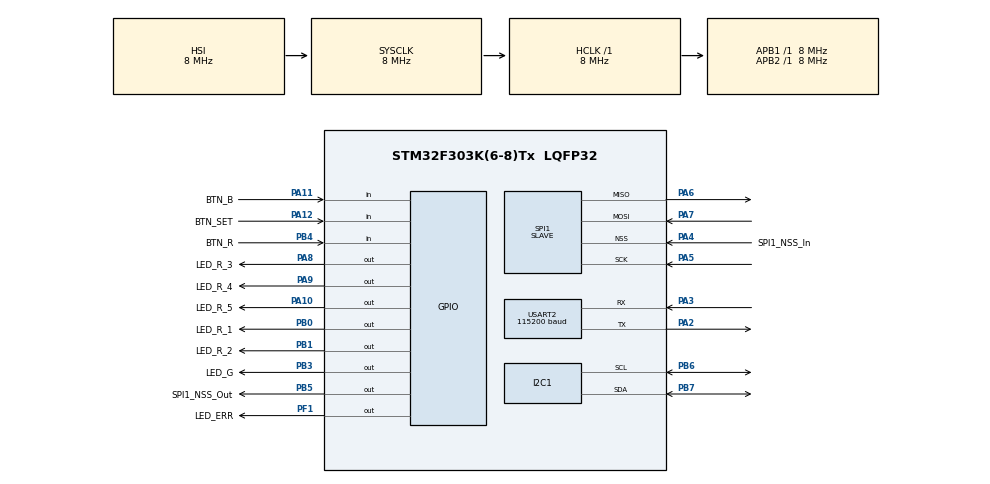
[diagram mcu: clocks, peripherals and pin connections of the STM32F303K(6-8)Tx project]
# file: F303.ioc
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I2C1.OwnAddress=18
Mcu.Family=STM32F3
Mcu.Name=STM32F303K(6-8)Tx
Mcu.Package=LQFP32
NVIC.I2C1_ER_IRQn=true\:13\:0\:true\:false\:true\:true\:true\:true
NVIC.I2C1_EV_IRQn=true\:14\:0\:true\:false\:true\:true\:true\:true
NVIC.PriorityGroup=NVIC_PRIORITYGROUP_4
NVIC.SPI1_IRQn=true\:14\:0\:true\:false\:true\:true\:true\:true
NVIC.TIM1_TRG_COM_TIM17_IRQn=true\:12\:0\:true\:false\:true\:true\:true\:true
NVIC.TIM1_UP_TIM16_IRQn=true\:15\:0\:true\:false\:true\:true\:true\:true
NVIC.USART2_IRQn=true\:14\:0\:true\:false\:true\:true\:true\:true
PA10.GPIO_Label=LED_R_5
PA10.Signal=GPIO_Output
PA11.GPIO_Label=BTN_B
PA11.GPIO_PuPd=GPIO_PULLUP
PA11.Signal=GPIO_Input
PA12.GPIO_Label=BTN_SET
PA12.GPIO_PuPd=GPIO_PULLUP
PA12.Signal=GPIO_Input
PA13.Mode=Serial_Wire
PA13.Signal=SYS_JTMS-SWDIO
PA14.Mode=Serial_Wire
PA14.Signal=SYS_JTCK-SWCLK
PA2.Mode=Asynchronous
PA2.Signal=USART2_TX
PA3.Mode=Asynchronous
PA3.Signal=USART2_RX
PA4.GPIO_Label=SPI1_NSS_In
PA4.GPIO_PuPd=GPIO_PULLDOWN
PA4.Mode=NSS_Signal_Hard_Input
PA4.Signal=SPI1_NSS
PA5.Mode=Full_Duplex_Slave
PA5.Signal=SPI1_SCK
PA6.Mode=Full_Duplex_Slave
PA6.Signal=SPI1_MISO
PA7.Mode=Full_Duplex_Slave
PA7.Signal=SPI1_MOSI
PA8.GPIO_Label=LED_R_3
PA8.Signal=GPIO_Output
PA9.GPIO_Label=LED_R_4
PA9.Signal=GPIO_Output
PB0.GPIO_Label=LED_R_1
PB0.Signal=GPIO_Output
PB1.GPIO_Label=LED_R_2
PB1.PinState=GPIO_PIN_RESET
PB1.Signal=GPIO_Output
PB3.GPIO_Label=LED_G
PB3.Signal=GPIO_Output
PB4.GPIO_Label=BTN_R
PB4.GPIO_PuPd=GPIO_PULLUP
PB4.Signal=GPIO_Input
PB5.GPIO_Label=SPI1_NSS_Out
PB5.PinState=GPIO_PIN_SET
PB5.Signal=GPIO_Output
PB6.Mode=I2C
PB6.Signal=I2C1_SCL
PB7.Mode=I2C
PB7.Signal=I2C1_SDA
PF0\ /\ OSC_IN.Mode=HSE-External-Clock-Source
PF0\ /\ OSC_IN.Signal=RCC_OSC_IN
PF1\ /\ OSC_OUT.GPIO_Label=LED_ERR
PF1\ /\ OSC_OUT.Signal=GPIO_Output
ProjectManager.HeapSize=0x200
ProjectManager.StackSize=0x400
ProjectManager.TargetToolchain=STM32CubeIDE
RCC.AHBFreq_Value=8000000
RCC.APB1Freq_Value=8000000
RCC.APB2Freq_Value=8000000
RCC.CortexFreq_Value=8000000
RCC.HSE_VALUE=8000000
RCC.HSI_VALUE=8000000
RCC.SYSCLKFreq_VALUE=8000000
SPI1.DataSize=SPI_DATASIZE_8BIT
SPI1.Direction=SPI_DIRECTION_2LINES
SPI1.Mode=SPI_MODE_SLAVE
SPI1.VirtualNSS=VM_NSSHARD
SPI1.VirtualType=VM_SLAVE
TIM16.Period=1
TIM16.Prescaler=8000-1
USART2.BaudRate=115200
USART2.VirtualMode-Asynchronous=VM_ASYNC
VP_TIM16_VS_ClockSourceINT.Mode=Enable_Timer
VP_TIM17_VS_ClockSourceINT.Mode=Enable_Timer
board=NUCLEO-F303K8

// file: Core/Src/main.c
/* USER CODE BEGIN Header */
/* USER CODE END Header */
#include "main.h"

/* USER CODE BEGIN Includes */
#include <stdbool.h>
/* USER CODE END Includes */

I2C_HandleTypeDef hi2c1;

SPI_HandleTypeDef hspi1;

TIM_HandleTypeDef htim16;
TIM_HandleTypeDef htim17;

UART_HandleTypeDef huart2;

/* USER CODE BEGIN PV */
uint8_t userMode = 1;
uint8_t protocol = 1;
uint8_t BTN_DEBOUNCE_TIMER = 20;

uint8_t uartRxBuffer = 0;
uint8_t uartTxBuffer = 0;
uint8_t spiRxBuffer = 0;
uint8_t spiTxBuffer = 0;

uint16_t BTN_RED_initState = GPIO_PIN_SET;
uint16_t BTN_RED_currentState;
uint16_t BTN_RED_pressSlowCount = 0;
uint16_t BTN_RED_releaseSlowCount = 0;
bool BTN_RED_isPressed = false;

uint16_t BTN_BLUE_initState = GPIO_PIN_SET;
uint16_t BTN_BLUE_currentState;
uint16_t BTN_BLUE_pressSlowCount = 0;
uint16_t BTN_BLUE_releaseSlowCount = 0;
bool BTN_BLUE_isPressed = false;

uint16_t BTN_SET_initState = GPIO_PIN_SET;
uint16_t BTN_SET_currentState;
uint16_t BTN_SET_pressSlowCount = 0;
uint16_t BTN_SET_releaseSlowCount = 0;
bool BTN_SET_isPressed = false;
/* USER CODE END PV */

void SystemClock_Config(void);
static void MX_GPIO_Init(void);
static void MX_TIM16_Init(void);
static void MX_I2C1_Init(void);
static void MX_SPI1_Init(void);
static void MX_TIM17_Init(void);
static void MX_USART2_UART_Init(void);

int main(void)
{

  /* MCU Configuration--------------------------------------------------------*/

  /* Reset of all peripherals, Initializes the Flash interface and the Systick. */
  HAL_Init();

  /* Configure the system clock */
  SystemClock_Config();

  /* Initialize all configured peripherals */
  MX_GPIO_Init();
  MX_TIM16_Init();
  MX_I2C1_Init();
  MX_SPI1_Init();
  MX_TIM17_Init();
  MX_USART2_UART_Init();
  /* USER CODE BEGIN 2 */
  setModeLed();
  /* USER CODE END 2 */

  /* Infinite loop */
  /* USER CODE BEGIN WHILE */
  while(1)
  {
	  int delayTime = (6 - userMode) * 100;

	  HAL_GPIO_WritePin(GPIOB, LED_G_Pin, GPIO_PIN_SET);
	  HAL_Delay(delayTime);
	  HAL_GPIO_WritePin(GPIOB, LED_G_Pin, GPIO_PIN_RESET);
	  HAL_Delay(delayTime);

    /* USER CODE END WHILE */

  }
}

void SystemClock_Config(void)
{
  RCC_OscInitTypeDef RCC_OscInitStruct = {0};
  RCC_ClkInitTypeDef RCC_ClkInitStruct = {0};
  RCC_PeriphCLKInitTypeDef PeriphClkInit = {0};

  /** Initializes the RCC Oscillators according to the specified parameters
  * in the RCC_OscInitTypeDef structure.
  */
  RCC_OscInitStruct.OscillatorType = RCC_OSCILLATORTYPE_HSI;
  RCC_OscInitStruct.HSIState = RCC_HSI_ON;
  RCC_OscInitStruct.HSICalibrationValue = RCC_HSICALIBRATION_DEFAULT;
  RCC_OscInitStruct.PLL.PLLState = RCC_PLL_NONE;
  if (HAL_RCC_OscConfig(&RCC_OscInitStruct) != HAL_OK)
  {
    Error_Handler();
  }

  /** Initializes the CPU, AHB and APB buses clocks
  */
  RCC_ClkInitStruct.ClockType = RCC_CLOCKTYPE_HCLK|RCC_CLOCKTYPE_SYSCLK
                              |RCC_CLOCKTYPE_PCLK1|RCC_CLOCKTYPE_PCLK2;
  RCC_ClkInitStruct.SYSCLKSource = RCC_SYSCLKSOURCE_HSI;
  RCC_ClkInitStruct.AHBCLKDivider = RCC_SYSCLK_DIV1;
  RCC_ClkInitStruct.APB1CLKDivider = RCC_HCLK_DIV1;
  RCC_ClkInitStruct.APB2CLKDivider = RCC_HCLK_DIV1;

  if (HAL_RCC_ClockConfig(&RCC_ClkInitStruct, FLASH_LATENCY_0) != HAL_OK)
  {
    Error_Handler();
  }
  PeriphClkInit.PeriphClockSelection = RCC_PERIPHCLK_I2C1;
  PeriphClkInit.I2c1ClockSelection = RCC_I2C1CLKSOURCE_HSI;
  if (HAL_RCCEx_PeriphCLKConfig(&PeriphClkInit) != HAL_OK)
  {
    Error_Handler();
  }
}

static void MX_I2C1_Init(void)
{

  hi2c1.Instance = I2C1;
  hi2c1.Init.Timing = 0x2000090E;
  hi2c1.Init.OwnAddress1 = 36;
  hi2c1.Init.AddressingMode = I2C_ADDRESSINGMODE_7BIT;
  hi2c1.Init.DualAddressMode = I2C_DUALADDRESS_DISABLE;
  hi2c1.Init.OwnAddress2 = 0;
  hi2c1.Init.OwnAddress2Masks = I2C_OA2_NOMASK;
  hi2c1.Init.GeneralCallMode = I2C_GENERALCALL_DISABLE;
  hi2c1.Init.NoStretchMode = I2C_NOSTRETCH_DISABLE;
  if (HAL_I2C_Init(&hi2c1) != HAL_OK)
  {
    Error_Handler();
  }

  /** Configure Analogue filter
  */
  if (HAL_I2CEx_ConfigAnalogFilter(&hi2c1, I2C_ANALOGFILTER_ENABLE) != HAL_OK)
  {
    Error_Handler();
  }

  /** Configure Digital filter
  */
  if (HAL_I2CEx_ConfigDigitalFilter(&hi2c1, 0) != HAL_OK)
  {
    Error_Handler();
  }

}

static void MX_SPI1_Init(void)
{

  /* SPI1 parameter configuration*/
  hspi1.Instance = SPI1;
  hspi1.Init.Mode = SPI_MODE_SLAVE;
  hspi1.Init.Direction = SPI_DIRECTION_2LINES;
  hspi1.Init.DataSize = SPI_DATASIZE_8BIT;
  hspi1.Init.CLKPolarity = SPI_POLARITY_LOW;
  hspi1.Init.CLKPhase = SPI_PHASE_1EDGE;
  hspi1.Init.NSS = SPI_NSS_HARD_INPUT;
  hspi1.Init.FirstBit = SPI_FIRSTBIT_MSB;
  hspi1.Init.TIMode = SPI_TIMODE_DISABLE;
  hspi1.Init.CRCCalculation = SPI_CRCCALCULATION_DISABLE;
  hspi1.Init.CRCPolynomial = 7;
  hspi1.Init.CRCLength = SPI_CRC_LENGTH_DATASIZE;
  hspi1.Init.NSSPMode = SPI_NSS_PULSE_DISABLE;
  if (HAL_SPI_Init(&hspi1) != HAL_OK)
  {
    Error_Handler();
  }
  /* USER CODE BEGIN SPI1_Init 2 */
  HAL_SPI_Receive_IT(&hspi1, &spiRxBuffer, 1);
  /* USER CODE END SPI1_Init 2 */

}

static void MX_TIM16_Init(void)
{

  htim16.Instance = TIM16;
  htim16.Init.Prescaler = 8000-1;
  htim16.Init.CounterMode = TIM_COUNTERMODE_UP;
  htim16.Init.Period = 1;
  htim16.Init.ClockDivision = TIM_CLOCKDIVISION_DIV1;
  htim16.Init.RepetitionCounter = 0;
  htim16.Init.AutoReloadPreload = TIM_AUTORELOAD_PRELOAD_DISABLE;
  if (HAL_TIM_Base_Init(&htim16) != HAL_OK)
  {
    Error_Handler();
  }
  /* USER CODE BEGIN TIM16_Init 2 */
  HAL_TIM_Base_Start_IT(&htim16);
  /* USER CODE END TIM16_Init 2 */

}

static void MX_TIM17_Init(void)
{

  htim17.Instance = TIM17;
  htim17.Init.Prescaler = 0;
  htim17.Init.CounterMode = TIM_COUNTERMODE_UP;
  htim17.Init.Period = 65535;
  htim17.Init.ClockDivision = TIM_CLOCKDIVISION_DIV1;
  htim17.Init.RepetitionCounter = 0;
  htim17.Init.AutoReloadPreload = TIM_AUTORELOAD_PRELOAD_DISABLE;
  if (HAL_TIM_Base_Init(&htim17) != HAL_OK)
  {
    Error_Handler();
  }

}

static void MX_USART2_UART_Init(void)
{

  huart2.Instance = USART2;
  huart2.Init.BaudRate = 115200;
  huart2.Init.WordLength = UART_WORDLENGTH_8B;
  huart2.Init.StopBits = UART_STOPBITS_1;
  huart2.Init.Parity = UART_PARITY_NONE;
  huart2.Init.Mode = UART_MODE_TX_RX;
  huart2.Init.HwFlowCtl = UART_HWCONTROL_NONE;
  huart2.Init.OverSampling = UART_OVERSAMPLING_16;
  huart2.Init.OneBitSampling = UART_ONE_BIT_SAMPLE_DISABLE;
  huart2.AdvancedInit.AdvFeatureInit = UART_ADVFEATURE_NO_INIT;
  if (HAL_UART_Init(&huart2) != HAL_OK)
  {
    Error_Handler();
  }
  /* USER CODE BEGIN USART2_Init 2 */
  HAL_UART_Receive_IT(&huart2, &uartRxBuffer, 1);
  /* USER CODE END USART2_Init 2 */

}

static void MX_GPIO_Init(void)
{
  GPIO_InitTypeDef GPIO_InitStruct = {0};

  /* GPIO Ports Clock Enable */
  __HAL_RCC_GPIOF_CLK_ENABLE();
  __HAL_RCC_GPIOA_CLK_ENABLE();
  __HAL_RCC_GPIOB_CLK_ENABLE();

  /*Configure GPIO pin Output Level */
  HAL_GPIO_WritePin(LED_ERR_GPIO_Port, LED_ERR_Pin, GPIO_PIN_RESET);

  /*Configure GPIO pin Output Level */
  HAL_GPIO_WritePin(GPIOB, LED_R_1_Pin|LED_R_2_Pin|LED_G_Pin, GPIO_PIN_RESET);

  /*Configure GPIO pin Output Level */
  HAL_GPIO_WritePin(GPIOA, LED_R_3_Pin|LED_R_4_Pin|LED_R_5_Pin, GPIO_PIN_RESET);

  /*Configure GPIO pin Output Level */
  HAL_GPIO_WritePin(SPI1_NSS_Out_GPIO_Port, SPI1_NSS_Out_Pin, GPIO_PIN_SET);

  /*Configure GPIO pin : LED_ERR_Pin */
  GPIO_InitStruct.Pin = LED_ERR_Pin;
  GPIO_InitStruct.Mode = GPIO_MODE_OUTPUT_PP;
  GPIO_InitStruct.Pull = GPIO_NOPULL;
  GPIO_InitStruct.Speed = GPIO_SPEED_FREQ_LOW;
  HAL_GPIO_Init(LED_ERR_GPIO_Port, &GPIO_InitStruct);

  /*Configure GPIO pins : LED_R_1_Pin LED_R_2_Pin LED_G_Pin SPI1_NSS_Out_Pin */
  GPIO_InitStruct.Pin = LED_R_1_Pin|LED_R_2_Pin|LED_G_Pin|SPI1_NSS_Out_Pin;
  GPIO_InitStruct.Mode = GPIO_MODE_OUTPUT_PP;
  GPIO_InitStruct.Pull = GPIO_NOPULL;
  GPIO_InitStruct.Speed = GPIO_SPEED_FREQ_LOW;
  HAL_GPIO_Init(GPIOB, &GPIO_InitStruct);

  /*Configure GPIO pins : LED_R_3_Pin LED_R_4_Pin LED_R_5_Pin */
  GPIO_InitStruct.Pin = LED_R_3_Pin|LED_R_4_Pin|LED_R_5_Pin;
  GPIO_InitStruct.Mode = GPIO_MODE_OUTPUT_PP;
  GPIO_InitStruct.Pull = GPIO_NOPULL;
  GPIO_InitStruct.Speed = GPIO_SPEED_FREQ_LOW;
  HAL_GPIO_Init(GPIOA, &GPIO_InitStruct);

  /*Configure GPIO pins : BTN_B_Pin BTN_SET_Pin */
  GPIO_InitStruct.Pin = BTN_B_Pin|BTN_SET_Pin;
  GPIO_InitStruct.Mode = GPIO_MODE_INPUT;
  GPIO_InitStruct.Pull = GPIO_PULLUP;
  HAL_GPIO_Init(GPIOA, &GPIO_InitStruct);

  /*Configure GPIO pin : BTN_R_Pin */
  GPIO_InitStruct.Pin = BTN_R_Pin;
  GPIO_InitStruct.Mode = GPIO_MODE_INPUT;
  GPIO_InitStruct.Pull = GPIO_PULLUP;
  HAL_GPIO_Init(BTN_R_GPIO_Port, &GPIO_InitStruct);

}

/* USER CODE BEGIN 4 */

//INTERRUP PROCESSING
void resetModeLed(void)
{

  HAL_GPIO_WritePin(
					GPIOB,
					LED_R_1_Pin|LED_R_2_Pin,
					GPIO_PIN_RESET
				   );
  HAL_GPIO_WritePin(
					GPIOA,
					LED_R_3_Pin|LED_R_4_Pin|LED_R_5_Pin,
					GPIO_PIN_RESET
				   );
}

void setModeLed(void)
{
	if(userMode == 1)
	{
	  resetModeLed();
	  HAL_GPIO_WritePin(GPIOB, LED_R_1_Pin, GPIO_PIN_SET);
	}
	if(userMode == 2)
	{
	  resetModeLed();
	  HAL_GPIO_WritePin(GPIOB, LED_R_2_Pin, GPIO_PIN_SET);
	}
	if(userMode == 3)
	{
	  resetModeLed();
	  HAL_GPIO_WritePin(GPIOA, LED_R_3_Pin, GPIO_PIN_SET);
	}
	if(userMode == 4)
	{
	  resetModeLed();
	  HAL_GPIO_WritePin(GPIOA, LED_R_4_Pin, GPIO_PIN_SET);
	}
	if(userMode == 5)
	{
	  resetModeLed();
	  HAL_GPIO_WritePin(GPIOA, LED_R_5_Pin, GPIO_PIN_SET);
	}
}

//void UART_Transmit(void* data)
//{
//	uartTxBuffer = data;
//	HAL_UART_Transmit(&huart2, uartTxBuffer, 1, HAL_MAX_DELAY);
//
//}

void UART_Transmit(uint8_t data) {
    HAL_StatusTypeDef status;

    // Transmit a single byte using HAL_UART_Transmit
    status = HAL_UART_Transmit(&huart2, &data, 1, HAL_MAX_DELAY);

    // Check the status
    if (status != HAL_OK) {
    		Error_Handler();
    }
}

void SPI_Transmit(uint8_t data) {
    HAL_StatusTypeDef status;

    // Transmit a single byte using HAL_UART_Transmit
    HAL_GPIO_WritePin(SPI1_NSS_Out_GPIO_Port, SPI1_NSS_Out_Pin, GPIO_PIN_RESET);
    status = HAL_SPI_Transmit(&hspi1, &data, 1, HAL_MAX_DELAY);
    HAL_GPIO_WritePin(SPI1_NSS_Out_GPIO_Port, SPI1_NSS_Out_Pin, GPIO_PIN_SET);

    // Check the status
    if (status != HAL_OK) {
    		Error_Handler();
    }
}

void HAL_TIM_PeriodElapsedCallback (TIM_HandleTypeDef * htim)				//TIM16 interrupt processing
{

	if(htim == &htim16)
	{
		BTN_RED_currentState = HAL_GPIO_ReadPin(GPIOB, BTN_R_Pin);
		BTN_SET_currentState = HAL_GPIO_ReadPin(GPIOA, BTN_SET_Pin);
		BTN_BLUE_currentState = HAL_GPIO_ReadPin(GPIOA, BTN_B_Pin);
		//turning on RED btn
		if(BTN_RED_currentState != BTN_RED_initState)
		{

			++BTN_RED_pressSlowCount;

			if(BTN_RED_pressSlowCount > BTN_DEBOUNCE_TIMER)
			{
				//if you are here than RED BTN is pressed
				BTN_RED_pressSlowCount = 0;

				//onClick RED BTN code
				if(BTN_RED_isPressed == false)
				{
					userMode = userMode + 1;

					if(userMode == 6)
					{

						userMode = 1;

					}

					setModeLed();
					BTN_RED_isPressed = true;
				}
			}

		}
		//turning on BLUE btn
		if(BTN_BLUE_currentState != BTN_BLUE_initState)
		{

			++BTN_BLUE_pressSlowCount;

			if(BTN_BLUE_pressSlowCount > BTN_DEBOUNCE_TIMER)
			{
				//if you are here than RED BTN is pressed
				BTN_BLUE_pressSlowCount = 0;

				//onClick RED BTN code
				if(BTN_BLUE_isPressed == false)
				{
					userMode = userMode - 1;

					if(userMode == 0)
					{

						userMode = 5;

					}

					setModeLed();
					BTN_BLUE_isPressed = true;
				}
			}

		}
		//turning on SET btn
		if(BTN_SET_currentState != BTN_SET_initState)
		{

			++BTN_SET_pressSlowCount;

			if(BTN_SET_pressSlowCount > BTN_DEBOUNCE_TIMER)
			{
				//if you are here than RED BTN is pressed
				BTN_SET_pressSlowCount = 0;

				//onClick RED BTN code
				if(BTN_SET_isPressed == false)
				{
					if(protocol == 1)
					{
						UART_Transmit(userMode);
					}
					if(protocol == 2)
					{
						SPI_Transmit(userMode);
					}

					BTN_SET_isPressed = true;
				}
			}

		}
		//turning off RED btn
		if(BTN_RED_currentState == BTN_RED_initState && BTN_RED_isPressed == true)
		{

			++BTN_RED_releaseSlowCount;

			if(BTN_RED_releaseSlowCount > BTN_DEBOUNCE_TIMER)
			{

				BTN_RED_isPressed = false;
				BTN_RED_releaseSlowCount = 0;
				//onRelease RED BTN code

			}
		}
		//turning off RED btn
		if(BTN_BLUE_currentState == BTN_BLUE_initState && BTN_BLUE_isPressed == true)
		{

			++BTN_BLUE_releaseSlowCount;

			if(BTN_BLUE_releaseSlowCount > BTN_DEBOUNCE_TIMER)
			{

				BTN_BLUE_isPressed = false;
				BTN_BLUE_releaseSlowCount = 0;
				//onRelease RED BTN code

			}
		}
		//turning off SET btn
		if(BTN_SET_currentState == BTN_SET_initState && BTN_SET_isPressed == true)
		{

			++BTN_SET_releaseSlowCount;

			if(BTN_SET_releaseSlowCount > BTN_DEBOUNCE_TIMER)
			{

				BTN_SET_isPressed = false;
				BTN_SET_releaseSlowCount = 0;
				//onRelease RED BTN code

			}
		}
	}
}

void HAL_UART_RxCpltCallback(UART_HandleTypeDef *huart)
{
  if (huart->Instance == USART2 && uartRxBuffer)
  {
	//userCode
    userMode = uartRxBuffer;
    if(userMode > 5 || userMode < 1) Error_Handler();
    protocol = 1;
    setModeLed();

    //init listening to UART
    HAL_UART_Receive_IT(&huart2, &uartRxBuffer, 1);
  }
}

void HAL_SPI_RxCpltCallback(SPI_HandleTypeDef *hspi) {
    // Handle received data
    // You can access the received data from the 'receivedData' variable
	if (hspi->Instance == SPI1 && spiRxBuffer)
	  {
		//userCode
	    userMode = spiRxBuffer;
	    if(userMode > 5 || userMode < 1) Error_Handler();
	    protocol = 2;
	    setModeLed();

	    HAL_SPI_Receive_IT(&hspi1, &spiRxBuffer, 1);
	  }

}
/* USER CODE END 4 */

void Error_Handler(void)
{
  /* USER CODE BEGIN Error_Handler_Debug */
  HAL_GPIO_WritePin(LED_ERR_GPIO_Port, LED_ERR_Pin, GPIO_PIN_SET);
  /* User can add his own implementation to report the HAL error return state */
  __disable_irq();
  while (1)
  {
	  return;
  }
  /* USER CODE END Error_Handler_Debug */
}
